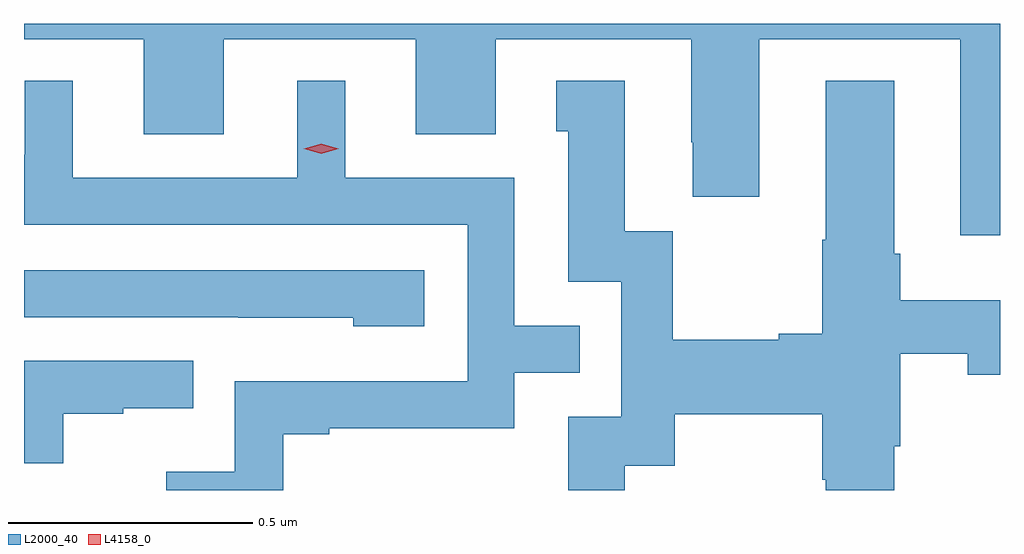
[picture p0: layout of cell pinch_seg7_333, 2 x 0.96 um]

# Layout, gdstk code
import gdstk
lib = gdstk.Library(unit=1e-6, precision=1e-09)
def P(c, l, *ps):  # polygons
    for p in ps: c.add(gdstk.Polygon(p, *l))
L2000_40 = (2000, 40)
L4158_0 = (4158, 0)

pinch_seg7_333 = lib.new_cell('pinch_seg7_333')
P(pinch_seg7_333, L2000_40, [(409.388,1081.9),(407.388,1081.9),(407.388,1081.868),(407.633,1081.868),(407.633,1081.674),(407.797,1081.674),(407.797,1081.868),(408.191,1081.868),(408.191,1081.674),(408.355,1081.674),(408.355,1081.868),(408.755,1081.868),(408.755,1081.657),(408.758,1081.657),(408.758,1081.545),(408.895,1081.545),(408.895,1081.868),(409.307,1081.868),(409.307,1081.467),(409.388,1081.467)],
  [(407.919,1081.059),(408.013,1081.059),(408.013,1081.071),(408.393,1081.071),(408.393,1081.185),(408.527,1081.185),(408.527,1081.281),(408.393,1081.281),(408.393,1081.584),(408.046,1081.584),(408.046,1081.783),(407.948,1081.783),(407.948,1081.584),(407.488,1081.584),(407.488,1081.783),(407.39,1081.783),(407.39,1081.632),(407.388,1081.632),(407.388,1081.488),(408.297,1081.488),(408.297,1081.167),(407.82,1081.167),(407.82,1080.982),(407.679,1080.982),(407.679,1080.944),(407.919,1080.944)],
  [(408.619,1080.994),(408.721,1080.994),(408.721,1081.1),(409.024,1081.1),(409.024,1080.966),(409.031,1080.966),(409.031,1080.944),(409.171,1080.944),(409.171,1081.034),(409.184,1081.034),(409.184,1081.224),(409.322,1081.224),(409.322,1081.181),(409.388,1081.181),(409.388,1081.333),(409.184,1081.333),(409.184,1081.429),(409.171,1081.429),(409.171,1081.783),(409.031,1081.783),(409.031,1081.457),(409.024,1081.457),(409.024,1081.265),(408.935,1081.265),(408.935,1081.252),(408.717,1081.252),(408.717,1081.475),(408.619,1081.475),(408.619,1081.783),(408.479,1081.783),(408.479,1081.68),(408.503,1081.68),(408.503,1081.371),(408.612,1081.371),(408.612,1081.095),(408.503,1081.095),(408.503,1080.944),(408.619,1080.944)],
  [(408.208,1081.395),(407.388,1081.395),(407.388,1081.299),(407.827,1081.299),(407.827,1081.298),(408.063,1081.298),(408.063,1081.28),(408.208,1081.28)],
  [(407.468,1081.101),(407.591,1081.101),(407.591,1081.112),(407.735,1081.112),(407.735,1081.209),(407.388,1081.209),(407.388,1080.999),(407.468,1080.999)])
P(pinch_seg7_333, L4158_0, [(407.997,1081.634),(407.961,1081.644),(407.961,1081.644),(407.961,1081.644),(407.997,1081.654),(408.033,1081.644),(408.033,1081.644),(408.033,1081.644)])

lib.write_gds('pinch_seg7_333.gds')
